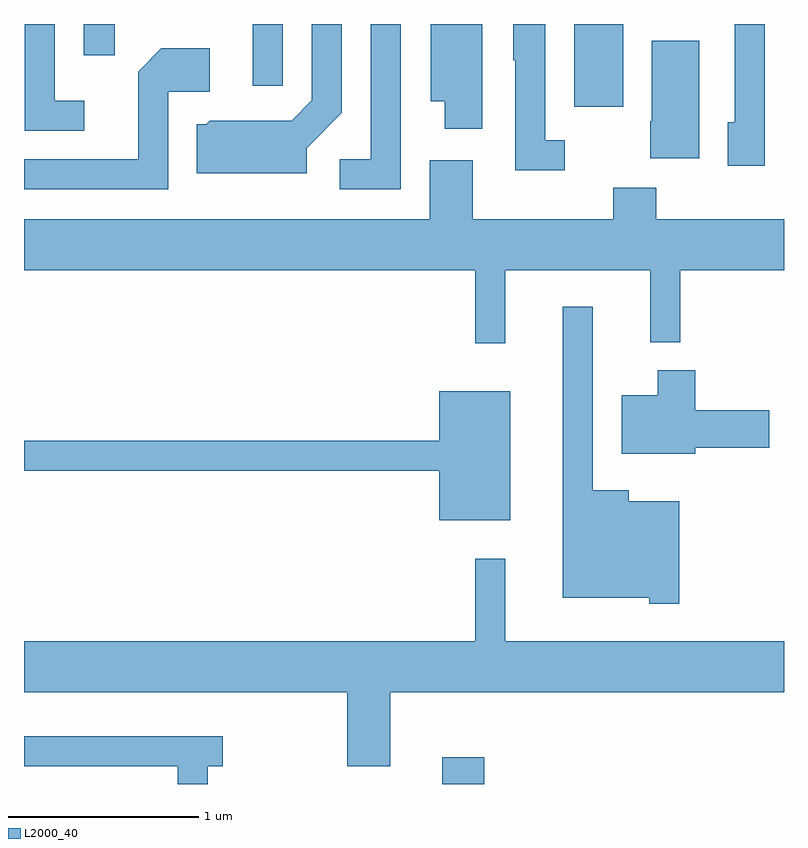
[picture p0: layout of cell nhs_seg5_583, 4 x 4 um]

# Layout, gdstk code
import gdstk
lib = gdstk.Library(unit=1e-6, precision=1e-09)
def R(c, l, rs):  # rectangles x0, y0, x1, y1
    for r in rs: c.add(gdstk.rectangle(r[:2], r[2:], *l))
def P(c, l, *ps):  # polygons
    for p in ps: c.add(gdstk.Polygon(p, *l))
L2000_40 = (2000, 40)

nhs_seg5_583 = lib.new_cell('nhs_seg5_583')
R(nhs_seg5_583, L2000_40, [(203.811,1474.072,204.034,1474.214), (204.506,1477.636,204.764,1478.072), (202.816,1477.748,202.974,1478.072), (201.926,1477.908,202.089,1478.072)])
P(nhs_seg5_583, L2000_40, [(203.099,1477.419),(203.284,1477.604),(203.284,1478.072),(203.126,1478.072),(203.126,1477.672),(203.019,1477.564),(202.589,1477.564),(202.569,1477.544),(202.521,1477.544),(202.521,1477.286),(203.099,1477.286)],
  [(201.928,1477.669),(201.774,1477.669),(201.774,1478.072),(201.616,1478.072),(201.616,1477.511),(201.928,1477.511)],
  [(205.509,1478.072),(205.351,1478.072),(205.351,1477.554),(205.316,1477.554),(205.316,1477.326),(205.509,1477.326)],
  [(204.458,1477.459),(204.354,1477.459),(204.354,1478.072),(204.186,1478.072),(204.186,1477.88),(204.196,1477.88),(204.196,1477.301),(204.458,1477.301)],
  [(203.594,1478.072),(203.436,1478.072),(203.436,1477.359),(203.273,1477.359),(203.273,1477.201),(203.594,1477.201)],
  [(204.024,1478.072),(203.751,1478.072),(203.751,1477.666),(203.826,1477.666),(203.826,1477.521),(204.024,1477.521)],
  [(205.164,1477.984),(204.916,1477.984),(204.916,1477.56),(204.906,1477.56),(204.906,1477.366),(205.164,1477.366)],
  [(202.369,1477.716),(202.589,1477.716),(202.589,1477.944),(202.334,1477.944),(202.211,1477.822),(202.211,1477.359),(201.611,1477.359),(201.611,1477.201),(202.369,1477.201)],
  [(204.144,1476.776),(204.906,1476.776),(204.906,1476.398),(205.064,1476.398),(205.064,1476.776),(205.611,1476.776),(205.611,1477.044),(204.939,1477.044),(204.939,1477.209),(204.711,1477.209),(204.711,1477.044),(203.974,1477.044),(203.974,1477.354),(203.746,1477.354),(203.746,1477.044),(201.611,1477.044),(201.611,1476.776),(203.986,1476.776),(203.986,1476.393),(204.144,1476.393)],
  [(205.059,1475.559),(204.794,1475.559),(204.794,1475.619),(204.604,1475.619),(204.604,1476.583),(204.446,1476.583),(204.446,1475.051),(204.901,1475.051),(204.901,1475.021),(205.059,1475.021)],
  [(205.144,1475.841),(205.534,1475.841),(205.534,1476.039),(205.144,1476.039),(205.144,1476.249),(204.946,1476.249),(204.946,1476.119),(204.756,1476.119),(204.756,1475.811),(205.144,1475.811)],
  [(204.169,1476.139),(203.796,1476.139),(203.796,1475.879),(201.611,1475.879),(201.611,1475.721),(203.796,1475.721),(203.796,1475.461),(204.169,1475.461)],
  [(203.539,1474.556),(205.611,1474.556),(205.611,1474.824),(204.144,1474.824),(204.144,1475.258),(203.986,1475.258),(203.986,1474.824),(201.611,1474.824),(201.611,1474.556),(203.311,1474.556),(203.311,1474.166),(203.539,1474.166)],
  [(202.579,1474.166),(202.658,1474.166),(202.658,1474.324),(201.611,1474.324),(201.611,1474.166),(202.421,1474.166),(202.421,1474.072),(202.579,1474.072)])

lib.write_gds('nhs_seg5_583.gds')
